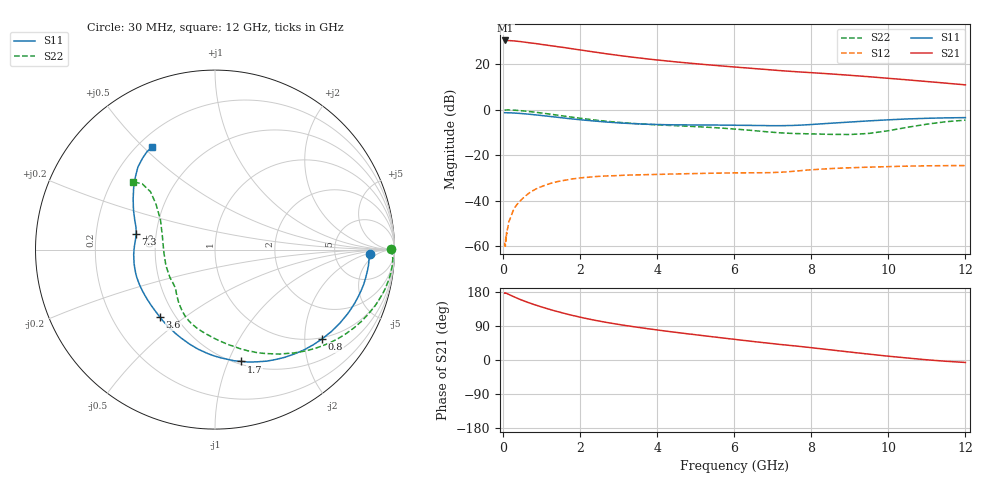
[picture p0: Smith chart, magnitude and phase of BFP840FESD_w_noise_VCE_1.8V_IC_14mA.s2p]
! (c) 2012  Infineon Technologies AG, Munich
! Infineon Technologies  Discrete & RF Semiconductors
! BFP840FESD
! VCE =  1.8 V,  IC =  14 mA
! Common Emitter S-Parameters:  May 2012
# GHz  S  MA  R  50
!  f  S11  S21  S12  S22
! GHz  MAG  ANG  MAG  ANG  MAG  ANG  MAG  ANG
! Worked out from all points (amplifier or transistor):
!   103 points, 30 MHz to 12 GHz, reference 50 ohm
!   highest |S21| = 30.5 dB at 50 MHz (marker M1)
!   |S21| within 3 dB of that: start of sweep to 1.522 GHz
!   unconditionally stable (mu >= 1): 6.188 GHz to end of sweep
!   at 400 MHz: K = 0.11, MSG = 35.4 dB, |S12| = -40.7 dB
!   at 3.7 GHz: K = 0.63, MSG = 25.5 dB, |S12| = -28.5 dB
!   at 12 GHz: K = 1.13, MAG = 15.6 dB, |S12| = -24.6 dB
!   lowest NFmin = 0.76 dB at 450 MHz
!   S11 on the Smith chart (normalised r, x): 30 MHz: 13, -2; 800 MHz: 0.97, -2.43; 1.7 GHz: 0.53, -1.12; 3.6 GHz: 0.41, -0.41; 7.3 GHz: 0.38, +0.08; 12 GHz: 0.25, +0.53
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0.03  0.8611 -1.5  33.44 176.3  0.0012 91.8  0.9781 0.1
0.04  0.8611 -2.1  33.42 175.9  0.001 77.7  0.9835 -0.4
0.05  0.8603 -2.6  33.46 177.0  0.001 82.6  0.9862 -0.9
0.25  0.8508 -13.2  32.82 167.9  0.006 82.5  0.9831 -9.7
0.45  0.8278 -23.2  31.49 159.1  0.0102 75.6  0.9544 -17.3
0.6  0.8074 -30.5  30.34 153.3  0.0133 72.1  0.9274 -22.7
0.8  0.7771 -39.8  28.89 146.2  0.0173 66.8  0.8886 -29.4
1  0.7465 -48.6  27.3 139.7  0.0206 62.0  0.8465 -35.8
1.2  0.7149 -57.1  25.87 133.6  0.0237 57.5  0.8039 -41.8
1.4  0.6846 -65.2  24.47 127.9  0.0263 53.8  0.7623 -47.5
1.7  0.6402 -76.7  22.51 119.9  0.0292 48.3  0.7017 -55.6
2.1  0.5921 -90.5  20.08 110.6  0.0323 42.3  0.6346 -65.5
2.7  0.5357 -107.9  16.94 98.8  0.0351 35.9  0.5567 -77.8
3.1  0.5087 -117.9  15.28 92.1  0.0362 33.4  0.5203 -84.7
3.6  0.4857 -129.1  13.56 84.7  0.0372 31.0  0.4862 -92.4
4.1  0.472 -139.2  12.19 77.9  0.038 29.4  0.4621 -99.0
5  0.4637 -155.0  10.29 66.5  0.0396 27.8  0.4256 -109.3
6.1  0.4558 -171.8  8.602 53.3  0.0409 27.2  0.3714 -121.5
7.3  0.448 169.0  7.154 39.9  0.0428 31.3  0.3073 -136.3
8.5  0.5055 154.0  6.147 26.7  0.0509 30.7  0.2878 -161.7
10.5  0.629 133.1  4.544 5.2  0.0576 25.0  0.4127 142.6
12  0.672 121.6  3.528 -6.5  0.0592 23.2  0.591 140.3
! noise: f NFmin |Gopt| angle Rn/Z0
0.45  0.76  0.22  4  0.12
0.9  0.78  0.22  11  0.14
1.5  0.8  0.2  17  0.14
1.9  0.8  0.18  27  0.14
2.4  0.81  0.17  37  0.14
3.5  0.81  0.17  61  0.14
5.5  0.86  0.1  123  0.12
8  0.96  0.11  -177  0.13
10  1.08  0.25  -124  0.14
12  1.29  0.41  -109  0.16
